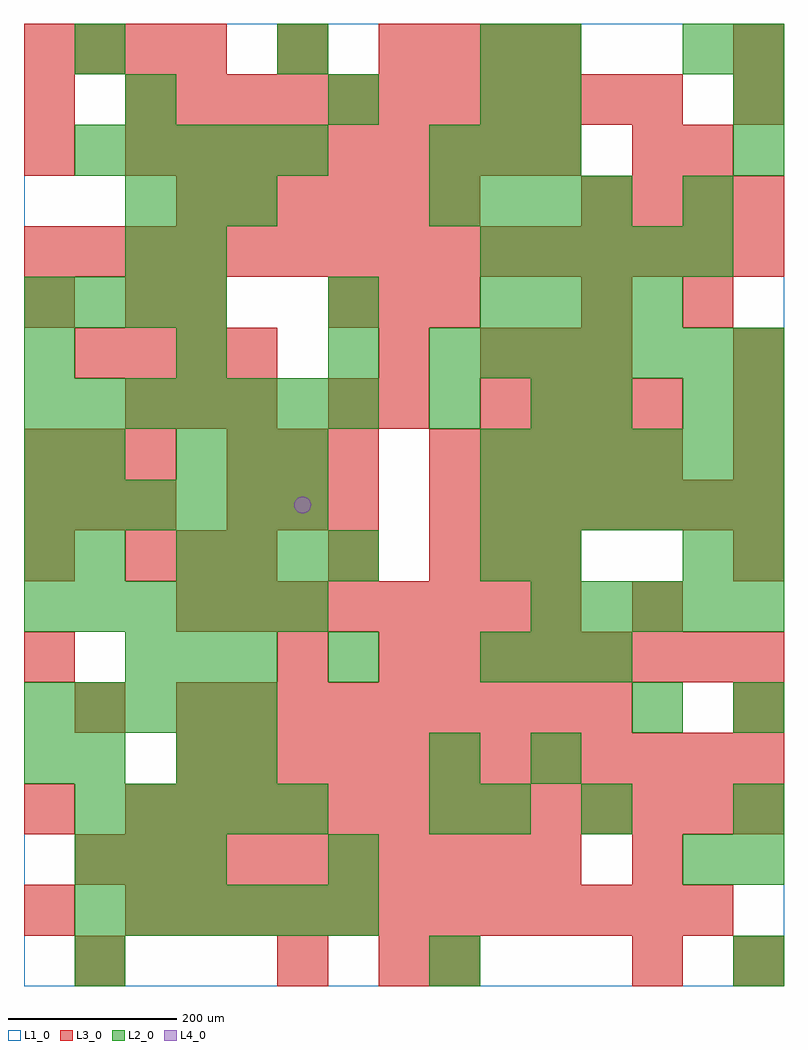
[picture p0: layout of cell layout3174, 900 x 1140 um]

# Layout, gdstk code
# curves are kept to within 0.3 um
import gdstk
lib = gdstk.Library(unit=1e-6, precision=1e-09)
def R(c, l, rs):  # rectangles x0, y0, x1, y1
    for r in rs: c.add(gdstk.rectangle(r[:2], r[2:], *l))
def A(c, l, x, y, w, h, nx, ny, dx, dy):  # array of equal rectangles
    R(c, l, [(x+i*dx, y+j*dy, x+i*dx+w, y+j*dy+h) for i in range(nx) for j in range(ny)])
def P(c, l, *ps):  # polygons
    for p in ps: c.add(gdstk.Polygon(p, *l))
L1_0 = (1, 0)
L2_0 = (2, 0)
L3_0 = (3, 0)
L4_0 = (4, 0)

layout3174 = lib.new_cell('layout3174')
R(layout3174, L1_0, [(0,0,900,1140)])
A(layout3174, L2_0, 60, 0, 60, 60, 1, 3, 0, 240)
A(layout3174, L2_0, 60, 60, 60, 60, 6, 1, 60, 0)
A(layout3174, L2_0, 60, 120, 60, 60, 3, 1, 60, 0)
A(layout3174, L2_0, 60, 180, 60, 60, 5, 2, 60, 780)
A(layout3174, L2_0, 0, 300, 60, 60, 5, 1, 60, 0)
A(layout3174, L2_0, 840, 300, 60, 60, 1, 3, 0, 180)
A(layout3174, L2_0, 120, 360, 60, 60, 3, 2, 60, 540)
A(layout3174, L2_0, 540, 360, 60, 60, 3, 1, 60, 0)
A(layout3174, L2_0, 0, 420, 60, 60, 6, 2, 60, 120)
A(layout3174, L2_0, 600, 420, 60, 60, 5, 1, 60, 0)
A(layout3174, L2_0, 180, 480, 60, 60, 4, 1, 60, 0)
A(layout3174, L2_0, 540, 540, 60, 60, 6, 2, 60, 60)
A(layout3174, L2_0, 180, 600, 60, 60, 3, 1, 60, 0)
A(layout3174, L2_0, 0, 660, 60, 60, 7, 1, 60, 0)
A(layout3174, L2_0, 0, 720, 60, 60, 3, 1, 180, 0)
A(layout3174, L2_0, 480, 720, 60, 60, 7, 1, 60, 0)
A(layout3174, L2_0, 0, 780, 60, 60, 4, 1, 60, 0)
A(layout3174, L2_0, 540, 780, 60, 60, 4, 1, 60, 0)
A(layout3174, L2_0, 540, 840, 60, 60, 5, 1, 60, 0)
A(layout3174, L2_0, 480, 900, 60, 60, 4, 1, 60, 0)
A(layout3174, L2_0, 480, 960, 60, 60, 3, 1, 60, 0)
A(layout3174, L2_0, 840, 960, 60, 60, 1, 3, 0, 60)
A(layout3174, L2_0, 60, 1080, 60, 60, 3, 1, 240, 0)
R(layout3174, L2_0, [(480,0,540,60), (840,0,900,60), (360,120,420,180), (780,120,840,180), (840,120,900,180), (480,180,540,240), (540,180,600,240), (660,180,720,240), (840,180,900,240), (0,240,60,300), (180,240,240,300), (240,240,300,300), (480,240,540,300), (600,240,660,300), (720,300,780,360), (360,360,420,420), (0,480,60,540), (540,480,600,540), (600,480,660,540), (780,480,840,540), (0,600,60,660), (60,600,120,660), (480,660,540,720), (600,660,660,720), (660,660,720,720), (780,660,840,720), (360,780,420,840), (120,840,180,900), (180,840,240,900), (780,900,840,960), (120,1020,180,1080), (360,1020,420,1080), (540,1020,600,1080), (600,1020,660,1080), (600,1080,660,1140), (780,1080,840,1140)])
A(layout3174, L3_0, 120, 60, 60, 60, 12, 1, 60, 0)
A(layout3174, L3_0, 60, 120, 60, 60, 10, 1, 60, 0)
A(layout3174, L3_0, 120, 180, 60, 60, 13, 1, 60, 0)
A(layout3174, L3_0, 180, 240, 60, 60, 12, 1, 60, 0)
A(layout3174, L3_0, 180, 300, 60, 60, 9, 1, 60, 0)
A(layout3174, L3_0, 420, 360, 60, 60, 8, 1, 60, 0)
A(layout3174, L3_0, 180, 420, 60, 60, 8, 1, 60, 0)
A(layout3174, L3_0, 120, 480, 60, 60, 3, 2, 60, 180)
A(layout3174, L3_0, 480, 480, 60, 60, 3, 1, 60, 0)
A(layout3174, L3_0, 0, 540, 60, 60, 3, 2, 60, 60)
A(layout3174, L3_0, 240, 540, 60, 60, 3, 2, 60, 60)
A(layout3174, L3_0, 480, 540, 60, 60, 7, 1, 60, 0)
A(layout3174, L3_0, 480, 600, 60, 60, 5, 1, 60, 0)
A(layout3174, L3_0, 840, 600, 60, 60, 1, 3, 0, 60)
A(layout3174, L3_0, 540, 660, 60, 60, 4, 1, 60, 0)
A(layout3174, L3_0, 60, 720, 60, 60, 4, 1, 60, 0)
A(layout3174, L3_0, 540, 720, 60, 60, 3, 1, 60, 0)
A(layout3174, L3_0, 360, 780, 60, 60, 3, 1, 60, 0)
A(layout3174, L3_0, 0, 840, 60, 60, 15, 1, 60, 0)
A(layout3174, L3_0, 180, 900, 60, 60, 6, 1, 60, 0)
A(layout3174, L3_0, 660, 900, 60, 60, 4, 1, 60, 0)
A(layout3174, L3_0, 120, 960, 60, 60, 9, 1, 60, 0)
A(layout3174, L3_0, 120, 1020, 60, 60, 11, 1, 60, 0)
A(layout3174, L3_0, 0, 1080, 60, 60, 4, 1, 60, 0)
A(layout3174, L3_0, 420, 1080, 60, 60, 4, 1, 60, 0)
R(layout3174, L3_0, [(60,0,120,60), (300,0,360,60), (420,0,480,60), (480,0,540,60), (720,0,780,60), (840,0,900,60), (0,60,60,120), (720,120,780,180), (0,180,60,240), (60,300,120,360), (840,300,900,360), (0,360,60,420), (300,360,360,420), (720,420,780,480), (0,480,60,540), (360,480,420,540), (840,480,900,540), (360,660,420,720), (420,660,480,720), (420,720,480,780), (0,780,60,840), (120,780,180,840), (180,780,240,840), (660,780,720,840), (780,780,840,840), (0,960,60,1020), (720,960,780,1020), (780,960,840,1020), (0,1020,60,1080), (840,1020,900,1080), (300,1080,360,1140), (840,1080,900,1140)])
P(layout3174, L4_0, [(340,570),(339.239,573.827),(337.071,577.071),(333.827,579.239),(330,580),(326.173,579.239),(322.929,577.071),(320.761,573.827),(320,570),(320.761,566.173),(322.929,562.929),(326.173,560.761),(330,560),(333.827,560.761),(337.071,562.929),(339.239,566.173)])

lib.write_gds('layout3174.gds')
